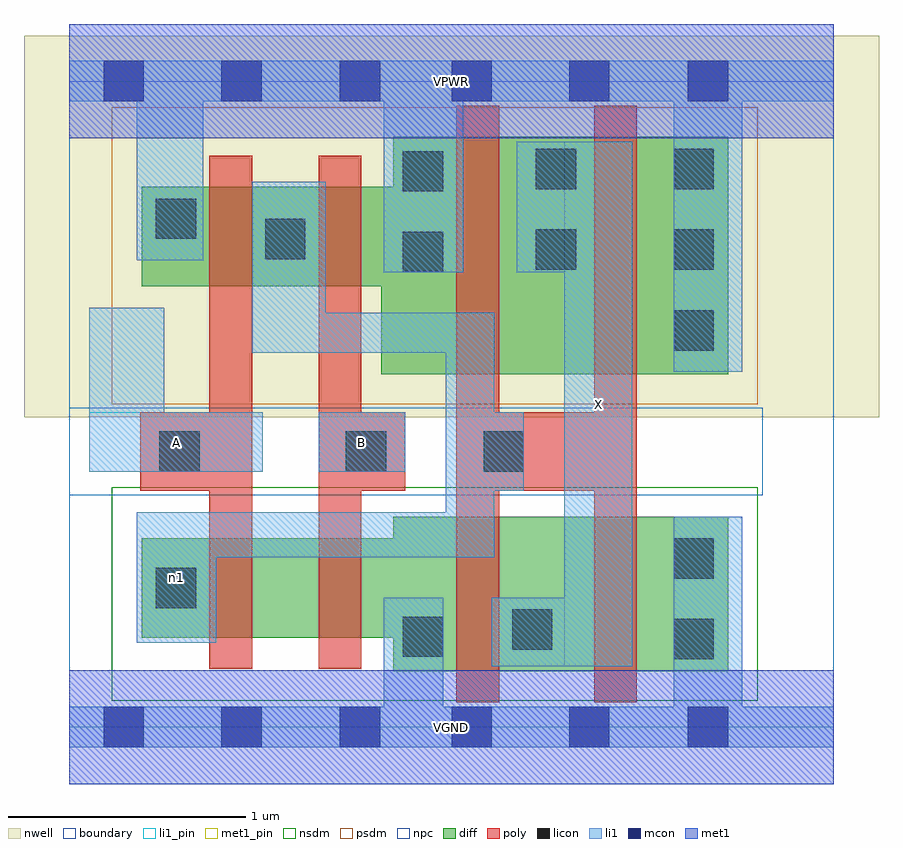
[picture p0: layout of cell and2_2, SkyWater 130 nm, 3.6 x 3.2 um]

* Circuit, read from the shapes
.subckt and2_2 A B VGND VPWR X n1
XM1 n2 A n1 VSUBS sky130_fd_pr__nfet_01v8 w=0.42 l=0.18
XM2 VGND B n2 VSUBS sky130_fd_pr__nfet_01v8 w=0.42 l=0.18
XM3 X n1 VGND VSUBS sky130_fd_pr__nfet_01v8 w=0.65 l=0.18 m=2
XM4 n1 A VPWR n3 sky130_fd_pr__pfet_01v8 w=0.42 l=0.18
XM5 VPWR B n1 n3 sky130_fd_pr__pfet_01v8 w=0.42 l=0.18
XM6 X n1 VPWR n3 sky130_fd_pr__pfet_01v8 w=1 l=0.18 m=2
.ends

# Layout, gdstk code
import gdstk
lib = gdstk.Library(unit=1e-6, precision=1e-09)
def R(c, l, rs):  # rectangles x0, y0, x1, y1
    for r in rs: c.add(gdstk.rectangle(r[:2], r[2:], *l))
def A(c, l, x, y, w, h, nx, ny, dx, dy):  # array of equal rectangles
    R(c, l, [(x+i*dx, y+j*dy, x+i*dx+w, y+j*dy+h) for i in range(nx) for j in range(ny)])
nwell = (64, 20)
diff = (65, 20)
poly = (66, 20)
licon = (66, 44)
li1_pin = (67, 16)
li1 = (67, 20)
mcon = (67, 44)
met1_pin = (68, 16)
met1 = (68, 20)
nsdm = (93, 44)
psdm = (94, 20)
npc = (95, 20)
boundary = (235, 4)

and2_2 = lib.new_cell('and2_2')
R(and2_2, nwell, [(-0.19,1.305,3.41,2.91), (0,1.305,3.22,2.91)])
R(and2_2, diff, [(1.365,0.235,2.775,0.885), (0.305,0.375,2.775,0.795), (1.315,1.485,2.775,2.275), (1.365,1.485,2.775,2.485), (0.305,1.855,2.775,2.275)])
R(and2_2, poly, [(1.63,0.105,1.81,2.615), (2.21,0.105,2.39,2.615), (0.59,0.245,0.77,2.405), (1.05,0.245,1.23,2.405), (0.3,0.995,0.77,1.325), (1.05,0.995,1.415,1.325), (1.63,0.995,2.39,1.325)])
A(and2_2, licon, 2.545, 1.585, 0.17, 0.17, 1, 3, 0, 0.34)
R(and2_2, licon, [(2.545,0.285,2.715,0.455), (1.405,0.295,1.575,0.465), (1.865,0.325,2.035,0.495), (0.365,0.5,0.535,0.67), (2.545,0.625,2.715,0.795), (0.38,1.075,0.55,1.245), (1.165,1.075,1.335,1.245), (1.745,1.075,1.915,1.245), (1.405,1.915,1.575,2.085), (1.965,1.925,2.135,2.095), (0.825,1.97,0.995,2.14), (0.365,2.055,0.535,2.225), (1.405,2.255,1.575,2.425), (1.965,2.265,2.135,2.435)])
R(and2_2, li1_pin, [(2.085,0.255,2.37,2.465), (0.085,1.075,0.815,1.325), (1.05,1.075,1.415,1.325)])
R(and2_2, li1, [(0,-0.085,3.22,0.085), (1.325,-0.085,1.575,0.545), (2.545,-0.085,2.835,0.885), (1.78,0.255,2.37,0.545), (2.085,0.255,2.37,2.465), (0.285,0.355,0.62,0.905), (0.285,0.715,1.79,0.905), (1.585,0.715,1.79,1.745), (1.585,0.995,1.915,1.325), (0.085,1.075,0.4,1.765), (0.085,1.075,0.815,1.325), (1.05,1.075,1.415,1.325), (2.545,1.495,2.835,2.805), (0.77,1.575,1.08,2.295), (0.77,1.575,1.79,1.745), (1.325,1.915,1.66,2.805), (1.885,1.915,2.37,2.465), (0.285,1.965,0.565,2.805), (0,2.635,3.22,2.805)])
R(and2_2, mcon, [(0.145,-0.085,0.315,0.085), (0.64,-0.085,0.81,0.085), (1.14,-0.085,1.31,0.085), (1.61,-0.085,1.78,0.085), (2.105,-0.085,2.275,0.085), (2.605,-0.085,2.775,0.085), (0.145,2.635,0.315,2.805), (0.64,2.635,0.81,2.805), (1.14,2.635,1.31,2.805), (1.61,2.635,1.78,2.805), (2.105,2.635,2.275,2.805), (2.605,2.635,2.775,2.805)])
R(and2_2, met1_pin, [(0,-0.24,3.22,0.24), (0,2.48,3.22,2.96)])
R(and2_2, met1, [(0,-0.24,3.22,0.24), (0,2.48,3.22,2.96)])
R(and2_2, nsdm, [(0.18,0.11,2.9,1.01)])
R(and2_2, psdm, [(0.18,1.36,2.9,2.61)])
R(and2_2, npc, [(0,0.975,2.92,1.345)])
R(and2_2, boundary, [(0,0,3.22,2.72)])
and2_2.add(gdstk.Label('A', (0.45,1.2), layer=67, texttype=5))
and2_2.add(gdstk.Label('B', (1.232,1.2), layer=67, texttype=5))
and2_2.add(gdstk.Label('X', (2.227,1.36), layer=67, texttype=5))
and2_2.add(gdstk.Label('n1', (0.452,0.63), layer=67, texttype=5))
and2_2.add(gdstk.Label('VPWR', (1.61,2.72), layer=68, texttype=5))
and2_2.add(gdstk.Label('VGND', (1.61,0), layer=68, texttype=5))
and2_2.add(gdstk.Label('A', (0.45,1.2), layer=67, texttype=16))
and2_2.add(gdstk.Label('B', (1.232,1.2), layer=67, texttype=16))
and2_2.add(gdstk.Label('X', (2.227,1.36), layer=67, texttype=16))
and2_2.add(gdstk.Label('VPWR', (1.61,2.72), layer=68, texttype=16))
and2_2.add(gdstk.Label('VGND', (1.61,0), layer=68, texttype=16))

lib.write_gds('and2_2.gds')
